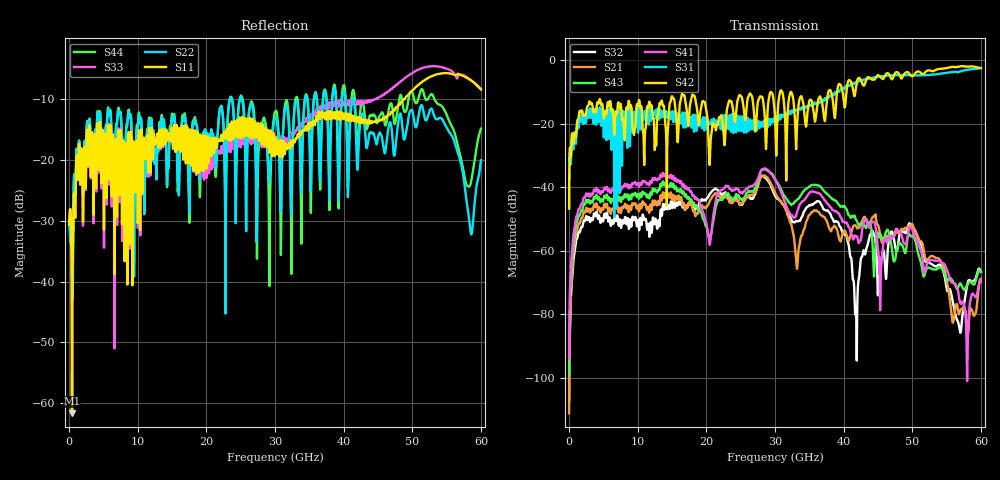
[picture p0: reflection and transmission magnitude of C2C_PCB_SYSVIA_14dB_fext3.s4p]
!$Gore$
!C2C PCB Topology at Nominal
!Tuned Ballou BGA and Tuned Mayfield BOR
!Created with Channel Assembly Tool v1.0.4
# Hz S RI R 50
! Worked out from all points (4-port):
!   6000 points, 10 MHz to 60 GHz, reference 50 ohm
!   strongest paths, dB at 10 MHz, 15.01 GHz, 30.01 GHz, 45.01 GHz, 60 GHz:
!     S42: -46.7, -11.4, -18.1, -4.7, -2.5
!     S31: -46.7, -16.1, -19.0, -5.2, -2.6
!     S41: -93.8, -37.3, -37.6, -59.7, -68.7
!     S43: -98.9, -39.8, -37.4, -54.4, -66.5
!     S21: -111.1, -44.0, -41.7, -51.9, -69.6
!     S32: -107.0, -46.5, -42.6, -73.4, -66.6
!   lowest |S11| = -61.7 dB at 430 MHz (marker M1), VSWR 1.00, Z = 50.1 + j0.0517 ohm
!   |S11| at or under -10 dB: start of sweep to 48.9 GHz
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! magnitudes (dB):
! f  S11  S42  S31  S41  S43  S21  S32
! 10 MHz  -30.6  -46.7  -46.7  -93.8  -98.9  -111.1  -107.0
! 430 MHz  -61.7  -23.1  -23.4  -60.2  -63.4  -66.9  -69.2
! 28.34 GHz  -15.6  -13.9  -19.2  -34.2  -34.4  -36.4  -36.7
! 33.18 GHz  -16.4  -22.2  -15.7  -48.1  -44.0  -65.3  -50.6
! 41.8 GHz  -13.0  -8.6  -6.9  -55.5  -50.2  -52.2  -78.0
! 44.1 GHz  -13.8  -6.0  -5.6  -51.1  -54.4  -49.9  -53.9
! 60 GHz  -8.4  -2.5  -2.6  -68.7  -66.5  -69.6  -66.6
